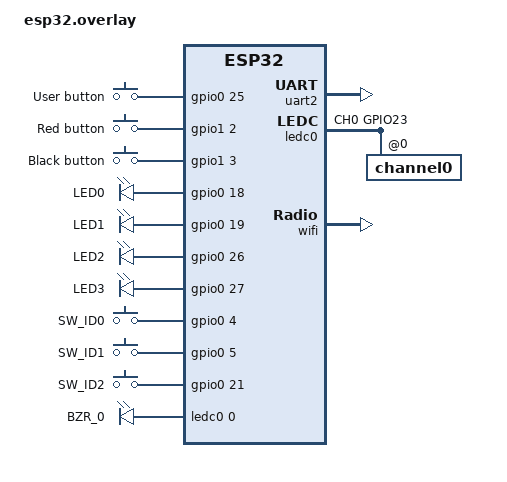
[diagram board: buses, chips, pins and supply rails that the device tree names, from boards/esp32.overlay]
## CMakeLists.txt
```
# Load zephyr build system and add extra modules if required
cmake_minimum_required(VERSION 3.13.1)
find_package(Zephyr REQUIRED HINTS $ENV{ZEPHYR_BASE})
project(owlcms_ref_btn)

# Add your source file to the "app" target.
target_sources(app PRIVATE 
                src/io.c 
                src/msys.c 
                src/main.c 
                src/io_mgr.c 
                src/settings_util.c
                src/comms_mgr.c
                src/wifi_conn.c
                src/mqtt_client.c
                # src/ble_config_mgr.c
                # src/config_gatt_service.c
                src/uart_config_mgr.c)
```

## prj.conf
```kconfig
# Logging
CONFIG_LOG=y
#CONFIG_LOG_MODE_IMMEDIATE=y
#CONFIG_LOG_PROCESS_THREAD=y
#CONFIG_LOG_MODE_DEFERRED=y
#CONFIG_LOG_BUFFER_SIZE=2048
CONFIG_NET_LOG=y
#CONFIG_MQTT_LOG_LEVEL_ERR=y
#CONFIG_NET_TCP_LOG_LEVEL_DBG=y
#CONFIG_NET_SOCKETS_LOG_LEVEL_DBG=y
#CONFIG_NET_CORE_LOG_LEVEL_DBG=y
#CONFIG_NVS_LOG_LEVEL_DBG=y
CONFIG_WIFI_LOG_LEVEL_DBG=y
#
# Flash, settings, NVS
CONFIG_FLASH=y
CONFIG_FLASH_MAP=y
CONFIG_NVS=y
CONFIG_MPU_ALLOW_FLASH_WRITE=y

#
# Networking
CONFIG_WIFI=y
CONFIG_WIFI_ESP32=y
CONFIG_NETWORKING=y
CONFIG_NET_L2_ETHERNET=y
CONFIG_NET_IPV6=n
CONFIG_NET_IPV4=y
CONFIG_NET_DHCPV4=y
CONFIG_NET_SOCKETS=y
CONFIG_NETWORKING=y
CONFIG_NET_TCP=y
CONFIG_NET_SOCKETS_POSIX_NAMES=y

CONFIG_NET_L2_WIFI_MGMT=y
CONFIG_NET_MGMT=y
CONFIG_NET_MGMT_EVENT=y
CONFIG_NET_MGMT_EVENT_INFO=y

CONFIG_ENTROPY_GENERATOR=y
CONFIG_TEST_RANDOM_GENERATOR=y

CONFIG_MBEDTLS=y
CONFIG_MBEDTLS_ENTROPY_ENABLED=y
CONFIG_MBEDTLS_KEY_EXCHANGE_ECDHE_ECDSA_ENABLED=y
CONFIG_MBEDTLS_ECP_ALL_ENABLED=y

#
# BLE and Bluetooth
# CONFIG_BT=y
# CONFIG_BT_DEBUG_LOG=y
# CONFIG_BT_PERIPHERAL=y
# CONFIG_BT_GATT_CLIENT=y
# CONFIG_BT_ESP32=y

CONFIG_SERIAL=y
CONFIG_UART_INTERRUPT_DRIVEN=y

#
# Misc options/libs
CONFIG_REBOOT=y
CONFIG_MQTT_LIB=y
# CONFIG_ESP_HEAP_MEM_POOL_REGION_1_SIZE=16000
CONFIG_PWM=y
CONFIG_PWM_LED_ESP32=y
#CONFIG_BOOTLOADER_MCUBOOT=y
#CONFIG_NET_TCP_WORKQ_STACK_SIZE=2096
#CONFIG_HEAP_MEM_POOL_SIZE=80000
#CONFIG_NET_TX_STACK_SIZE=2096
#CONFIG_NET_RX_STACK_SIZE=2096
#CONFIG_MAIN_STACK_SIZE=2096
```

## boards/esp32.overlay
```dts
#include <zephyr/dt-bindings/pwm/pwm.h>
#include <dt-bindings/pinctrl/esp32-pinctrl.h>

/ {
    aliases {
        led0 = &led0;
        led1 = &led1;
        led2 = &led2;
        led3 = &led3;
        btn-usr = &btn0;
        btn-red = &btn1;
        btn-blk = &btn2;
        sw-id-0 = &id0;
        sw-id-1 = &id1;
        sw-id-2 = &id2;
        pwm-0 = &ledc0;
        bzr0 = &bzr0;
        uart-config = &uart0; // main uart for dev board USB fw update + config
    };

    // Logging only used for dev/debug - keep uart0 for fw update and
    // config only.
    chosen {
        zephyr,console = &uart2;
        zephyr,shell-uart = &uart2;
    };

    buttons {
        compatible = "gpio-keys";
        btn0: btn_usr {
            gpios = <&gpio0 25 GPIO_ACTIVE_HIGH>; // GPIO25
            label = "User button";
        };

        btn1: btn_red {
            gpios = <&gpio1 2 GPIO_ACTIVE_HIGH>; // GPIO34
            label = "Red button";
        };

        btn2: btn_blk {
            gpios = <&gpio1 3 GPIO_ACTIVE_HIGH>; // GPIO35
            label = "Black button";
        };
    };

    leds {
        compatible = "gpio-leds";
        status = "okay";
        led0: led_0 {
            gpios = <&gpio0 18 GPIO_ACTIVE_HIGH>; // GPIO18
            label = "LED0";
            status = "okay";
        };

        led1: led_1 {
            gpios = <&gpio0 19 GPIO_ACTIVE_HIGH>; // GPIO19
            label = "LED1";
        };

        led2: led_2 {
            gpios = <&gpio0 26 GPIO_ACTIVE_HIGH>; // GPIO26
            label = "LED2";
        };

        led3: led_3 {
            gpios = <&gpio0 27 GPIO_ACTIVE_HIGH>; // GPIO27
            label = "LED3";
        };
    };

    id-sw {
        compatible = "gpio-keys";
        status = "okay";
        id0: sw_id_0 {
            gpios = <&gpio0 4 GPIO_ACTIVE_HIGH>;
            label = "SW_ID0";
        };

        id1: sw_id_1 {
            gpios = <&gpio0 5 GPIO_ACTIVE_HIGH>;
            label = "SW_ID1";
        };

        id2: sw_id_2 {
            gpios = <&gpio0 21 GPIO_ACTIVE_HIGH>;
            label = "SW_ID2";
        };
    };

    bzr-out {
        compatible = "pwm-leds";
        bzr0: pwm_led_gpio0_23 {
            pwms = <&ledc0 0 1000 PWM_POLARITY_NORMAL>;
            label = "BZR_0";
        };
    };
};

&uart2 {
    status = "okay";
};

&i2c0 {
    status = "disabled";
};

&spi3 {
    status = "disabled";
};

&pinctrl {
	ledc0_default: ledc0_default {
		group1 {
			// pinmux = <ESP32_PINMUX(23, ESP_NOSIG, ESP_LEDC_HS_SIG_OUT0)>;
            pinmux = <LEDC_CH0_GPIO23>;
			output-enable;
		};
	};
};

&ledc0 {
    pinctrl-0 = <&ledc0_default>;
    pinctrl-names = "default";
	status = "okay";
    #address-cells = <1>;
    #size-cells = <0>;
    channel0@0 {
        reg = <0x0>;
        timer = <0>;
    };
};

&wifi {
    status = "okay";
};
```

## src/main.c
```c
#include <zephyr/logging/log.h>

LOG_MODULE_REGISTER(main, LOG_LEVEL_DBG);

#include <zephyr/zephyr.h>
#include <zephyr/device.h>
#include <zephyr/drivers/gpio.h>
#include <zephyr/net/wifi_mgmt.h>
#include <zephyr/logging/log_ctrl.h>

#include "io.h"
#include "msys.h"
#include "comms_mgr.h"
#include "settings_util.h"

void main(void)
{
    log_init();
    LOG_INF("Starting OWLCMS Referee Controller...\n");

    // Short startup delay, don't think this is really necessary
    k_sleep(K_MSEC(100));

    int ret = 0;
    ret = io_init();
    if (ret != 0)
    {
        LOG_ERR("Failed to initialise IO module");
        return;
    }

    ret = settings_util_init();
    if (ret != 0)
    {
        LOG_ERR("Failed to initialise NVS and settings module");
        return;
    }

    ret = comms_mgr_init(io_get_dev_id());
    if (ret != 0)
    {
        LOG_ERR("Failed to initialise comms module");
        return;
    }

    ret = msys_init();
    if (ret != 0)
    {
        LOG_ERR("Failed to initialise main system module");
        return;
    }

    ret = msys_run();
    if (ret != 0)
    {
        LOG_ERR("Failed to start main system module");
        return;
    }

    while(1)
    {
        // Process buffered log messages and sleep;
        if (log_process() == false)
            k_sleep(K_MSEC(100));
    }
    // never going to get here...
    LOG_INF("main thread exiting");
}
```

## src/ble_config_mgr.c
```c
#include <zephyr/logging/log.h>

LOG_MODULE_REGISTER(ble_config_mgr, LOG_LEVEL_DBG);


#include <zephyr/zephyr.h>
#include <zephyr/bluetooth/bluetooth.h>
#include <zephyr/bluetooth/hci.h>
#include <zephyr/bluetooth/conn.h>
#include <zephyr/bluetooth/uuid.h>
#include <zephyr/bluetooth/gatt.h>
#include <zephyr/sys/reboot.h>

#include "ble_config_mgr.h"
#include "config_gatt_service.h"

#define BLE_CONFIG_MGR_THREAD_STACK_SIZE        4096

#define DEVICE_NAME             "BLE Config Device12"
#define DEVICE_NAME_LEN         20

struct bt_conn *conn;

static struct bt_data ad[] = {
    BT_DATA_BYTES(BT_DATA_FLAGS, (BT_LE_AD_GENERAL | BT_LE_AD_NO_BREDR)),
};

static const struct bt_data sd[] = {
    BT_DATA(BT_DATA_NAME_COMPLETE, DEVICE_NAME, DEVICE_NAME_LEN),
};

static void ble_host_connected(struct bt_conn *connected, uint8_t err);
static void ble_host_disconnected(struct bt_conn *connected, uint8_t reason);

struct config_settings settings_temp;

BT_CONN_CB_DEFINE(conn_callbacks) = {
    .connected = ble_host_connected,
    .disconnected = ble_host_disconnected,
};

int ble_config_mgr_init()
{
    int ret = 0;

    ret = bt_enable(NULL);
    if (ret != 0)
    {
        LOG_ERR("Bluetooth init failed: %d", ret);
        return ret;
    }


    //k_thread_start(ble_config_mgr_th);
    
    return ret;
}

int ble_config_mgr_deinit()
{
    int ret = 0;

    ret = bt_disable();
    if (ret != 0)
    {
        LOG_ERR("Bluetooth deinit failed: %d", ret);
        return ret;
    }
    return ret;
}

static void auth_cancel(struct bt_conn *conn)
{
	char addr[BT_ADDR_LE_STR_LEN];

	bt_addr_le_to_str(bt_conn_get_dst(conn), addr, sizeof(addr));

	LOG_INF("Pairing cancelled: %s\n", addr);
}

static struct bt_conn_auth_cb auth_cb_display = {
	.cancel = auth_cancel,
};

int ble_config_mgr_start(struct config_settings *settings)
{
    int ret = 0;
    ble_config_mgr_init();
    config_gatt_service_init(settings);

    ret = bt_le_adv_start(BT_LE_ADV_CONN, ad, ARRAY_SIZE(ad), sd, ARRAY_SIZE(sd));
    //bt_conn_auth_cb_register(&auth_cb_display);

    return ret;
}

int ble_config_mgr_stop()
{
    ble_config_mgr_deinit();
}

static void ble_host_connected(struct bt_conn *connected, uint8_t err)
{
    if (err != 0)
        LOG_INF("connection error: 0x%02x", err);
    else
    {
        LOG_INF("host connected");
        if (!conn)
        {
            conn = bt_conn_ref(connected);
        }
    }
}

static void ble_host_disconnected(struct bt_conn *connected, uint8_t reason)
{
    LOG_INF("disconnected, reason: 0x%02x", reason);
    if (conn)
    {
        bt_conn_unref(connected);
        conn = NULL;
    }
    sys_reboot(SYS_REBOOT_COLD);
}
```

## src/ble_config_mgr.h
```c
#ifndef BLE_CONFIG_MGR_H_
#define BLE_CONFIG_MGR_H_

#include "config_gatt_service.h"
// signal to the config mgr thread to enter config state
int ble_config_mgr_start(struct config_settings *settings);

// signal to the config mgr thread to leave config state
int ble_config_mgr_stop();

#endif
```

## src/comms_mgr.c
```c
#include <zephyr/logging/log.h>

LOG_MODULE_REGISTER(comms_mgr, LOG_LEVEL_DBG);

#include <zephyr/zephyr.h>
#include <zephyr/net/net_if.h>
#include <zephyr/net/net_core.h>
#include <zephyr/net/net_context.h>
#include <zephyr/net/wifi_mgmt.h>
#include <zephyr/net/net_mgmt.h>
#include <zephyr/net/ethernet_mgmt.h>
#include <zephyr/net/wifi.h>
#include <zephyr/net/net_event.h>
#include <zephyr/net/mqtt.h>

#include <esp_wifi.h>
#include <esp_event.h>
#include <esp_timer.h>

#include "device_config.h"
#include "comms_mgr.h"
#include "wifi_conn.h"
#include "mqtt_client.h"
#include "settings_util.h"
#include "msys.h"
#include "io_mgr.h"

#if (ENABLE_BLE_CONFIG == 1)
#include "ble_config_mgr.h"
#include "config_gatt_service.h"
#endif

#if (ENABLE_UART_CONFIG == 1)
#include "uart_config_mgr.h"
#endif

#define SIGNAL_CMD_MAX_RETRIES          10

#define MQTT_CLIENT_NAME_BASE           "owlcms_ref_"

#define DECISION_TOPIC_BASE             "owlcms/decision/"
#define DECISION_GOOD               0
#define DECISION_BAD                1

static const char *decision_msg[] = {"good", "bad"};

#define STARTUP_TOPIC_BASE              "owlcms/led/"
#define SUMMON_TOPIC_BASE               "owlcms/summon/"
#define DECISION_REQ_TOPIC_BASE         "owlcms/decisionRequest/"


typedef enum {
    CMD_NONE,
    CMD_RESET,
    CMD_CONNECT,
    CMD_DISCONNECT,
    CMD_MQTT_START,
    CMD_CONFIG_START,
    CMD_CONFIG_STOP
} comms_cmd_t;

static struct k_thread comms_mgr_th;
K_THREAD_STACK_DEFINE(comms_mgr_thread_stack, 4096);
static struct k_msgq  comms_cmd_queue;
char __aligned(1) cmd_msg_buf[10 * sizeof(uint8_t)];
static bool wifi_connected;
static bool net_connected;
static bool mqtt_connected;

struct wifi_config_settings wifi_config;
struct owlcms_config_settings owlcms_config;
struct mqtt_config_settings mqtt_config;
static uint8_t *decision_topic;
static uint8_t decision_topic_len;
static uint8_t ref_number;
static uint8_t *startup_topic;
static uint8_t *summon_topic;
static uint8_t *decision_req_topic;

static struct k_work_delayable wifi_connect_work;
static struct k_work_delayable wifi_disconnect_work;
static struct k_work_delayable wifi_reset_work;
static struct k_work_delayable wifi_setup_work;

void comms_mgr_thread();
static void process_comms_cmd(comms_cmd_t cmd);
void signal_net_state(uint8_t wifi_state, uint8_t net_state);
void signal_mqtt_state(uint8_t mqtt_state);
static int comms_mgr_signal_cmd(comms_cmd_t cmd);
static void setup_mqtt_topics();

static void handle_startup_msg(uint8_t *msg, uint8_t msg_len);
static void handle_summon_msg(uint8_t *msg, uint8_t msg_len);
static void handle_decision_req_msg(uint8_t *msg, uint8_t msg_len);

static void process_comms_cmd(comms_cmd_t cmd)
{
    if (cmd == CMD_RESET)
    {
        LOG_INF("proc cmd RESET");
        wifi_conn_disconnect();
        wifi_conn_reset();
        // k_work_reschedule(&wifi_disconnect_work, K_NO_WAIT);
        // k_work_reschedule(&wifi_reset_work, K_NO_WAIT);
    }
    else if (cmd == CMD_CONNECT)
    {
        LOG_INF("proc cmd CONNECT");
        
        if (wifi_connected && net_connected)
        {
            LOG_DBG("wifi already conn, starting mqtt");
            comms_mgr_signal_cmd(CMD_MQTT_START);
        }
        else 
        {
            LOG_DBG("starting wifi");
            //wifi_conn_reset();
            wifi_conn_setup(&wifi_config);
            wifi_conn_connect();
        }
        // k_work_reschedule(&wifi_reset_work, K_NO_WAIT);
        // k_work_reschedule(&wifi_setup_work, K_NO_WAIT);
        // k_work_reschedule(&wifi_connect_work, K_NO_WAIT);
    }
    else if (cmd == CMD_DISCONNECT)
    {
        LOG_INF("proc cmd DISCONNECT");
        wifi_conn_disconnect();
        // k_work_reschedule(&wifi_disconnect_work, K_NO_WAIT);
    }
    // else if (cmd == CMD_CONFIG)
    // {
    //     // TODO: implement configuration mode via BLE
    // }
    else if (cmd == CMD_MQTT_START)
    {
        mqtt_client_setup(&mqtt_config);
        mqtt_client_start();
        //msys_signal_evt(SYS_EVT_CONN_SUCCESS);
    }
    else if (cmd == CMD_CONFIG_START)
    {
        LOG_INF("starting ble config mode");
        mqtt_client_teardown();
        wifi_conn_disconnect();
#if (ENABLE_BLE_CONFIG == 1)
        struct config_settings settings;
        settings.wifi = &wifi_config;
        settings.mqtt = &mqtt_config;
        settings.owlcms = &owlcms_config;

        ble_config_mgr_start(&settings);
#endif
    }
    else if (cmd == CMD_CONFIG_STOP)
    {
#if (ENABLE_BLE_CONFIG == 1)
        ble_config_mgr_stop();
#endif
    }
}

void comms_mgr_thread()
{
    int ret = 0;
    comms_cmd_t cmd = 0;

    while (1)
    {
        ret = k_msgq_get(&comms_cmd_queue, &cmd, K_NO_WAIT);
        if (ret == 0)
        {
            LOG_DBG("comms_mgr evt %d", cmd);
            process_comms_cmd(cmd);
        }
        k_yield();
        //k_msleep(5);
    }
}

int comms_mgr_init(uint8_t device_id)
{
    k_msgq_init(&comms_cmd_queue, cmd_msg_buf, sizeof(uint8_t), 10);
    wifi_connected = false;
    net_connected = false;
    mqtt_connected = false;

    wifi_conn_init();
    mqtt_client_mod_init();
#if (ENABLE_UART_CONFIG == 1)
    uart_config_mgr_init();
#endif

    ref_number = device_id;
    settings_util_load_owlcms_config(&owlcms_config);
    settings_util_load_mqtt_config(&mqtt_config);
    
    uint8_t mqtt_client_name_len = strlen(MQTT_CLIENT_NAME_BASE) + owlcms_config.platform_len + 4;
    snprintk(mqtt_config.client_name, mqtt_client_name_len, "%s%s_%d", MQTT_CLIENT_NAME_BASE,
                                                                        owlcms_config.platform,
                                                                        ref_number);
    mqtt_config.client_name_len = mqtt_client_name_len;


    decision_topic_len = strlen(DECISION_TOPIC_BASE) + owlcms_config.platform_len + 1;
    decision_topic = k_malloc(sizeof(uint8_t) * decision_topic_len);
    snprintk(decision_topic, decision_topic_len, "%s%s", DECISION_TOPIC_BASE, owlcms_config.platform);
    
    settings_util_load_wifi_config(&wifi_config);

    wifi_conn_set_net_state_cb(&signal_net_state);
    mqtt_client_set_state_cb(&signal_mqtt_state);

    k_work_init_delayable(&wifi_connect_work, wifi_conn_connect);
    k_work_init_delayable(&wifi_disconnect_work, wifi_conn_disconnect);
    k_work_init_delayable(&wifi_reset_work, wifi_conn_reset);
    //k_work_init_delayable(&wifi_configure_work, wifi_configure);
    k_thread_create(&comms_mgr_th,
                    comms_mgr_thread_stack,
                    K_THREAD_STACK_SIZEOF(comms_mgr_thread_stack),
                    comms_mgr_thread,
                    NULL, NULL, NULL, 
                    6, 0, K_NO_WAIT);

    return 0;
}

int comms_mgr_signal_cmd(comms_cmd_t cmd)
{
    comms_cmd_t c = cmd;
    uint8_t count = 0;
    //LOG_DBG("comms_mgr evt %d", cmd);
    while (k_msgq_put(&comms_cmd_queue, &c, K_NO_WAIT) != 0)
    {
        if (count >= SIGNAL_CMD_MAX_RETRIES)
        {
            LOG_DBG("Failed to put cmd on msgq");
            return -ETIMEDOUT;
        }
        count++;
    }
    return 0;
}

int comms_mgr_connect()
{
    return comms_mgr_signal_cmd(CMD_CONNECT);
}

int comms_mgr_disconnect()
{
    return comms_mgr_signal_cmd(CMD_DISCONNECT);
}

int comms_mgr_notify_decision(uint8_t decision)
{
    uint8_t ret = 0;
    uint8_t *msg;
    
    
    uint8_t msg_len = strlen(decision_msg[decision]) + 3; // plus 3 for space, ID nummber, \0
    msg = k_malloc(sizeof(uint8_t) * msg_len);
    snprintk(msg, msg_len, "%d %s", ref_number, decision_msg[decision]);
    LOG_DBG("notify decision rx, topic: %s %d, msg: %s %d", decision_topic, decision_topic_len, msg, msg_len);
    ret = mqtt_client_publish(MQTT_QOS_0_AT_MOST_ONCE, decision_topic, decision_topic_len-1, msg, msg_len-1);

    if (ret == 0)
        msys_signal_evt(SYS_EVT_DECISION_HANDLED);

    return ret;
}

int comms_mgr_start_config()
{
    comms_mgr_signal_cmd(CMD_CONFIG_START);
}

int comms_mgr_end_config()
{
    comms_mgr_signal_cmd(CMD_CONFIG_STOP);
}

void signal_net_state(uint8_t wifi_state, uint8_t net_state)
{
    if (wifi_state == WIFI_CONN_STATE_UP)
    {
        wifi_connected = true;
    }
    else if (net_state == WIFI_CONN_STATE_UP)
    {
        net_connected = true;
        comms_mgr_signal_cmd(CMD_MQTT_START);
    }
    else if (wifi_state == WIFI_CONN_STATE_DOWN && net_state == WIFI_CONN_STATE_DOWN)
    {
        wifi_connected = false;
        net_connected = false;
        mqtt_client_teardown();
        msys_signal_evt(SYS_EVT_CONN_LOST);
    }
}

void signal_mqtt_state(uint8_t mqtt_state)
{
    if (mqtt_state == MQTT_STATE_NO_CHANGE)
    {

    }
    else if (mqtt_state == MQTT_STATE_CONNECTED)
    {
        setup_mqtt_topics();
        msys_signal_evt(SYS_EVT_CONN_SUCCESS);
    }
    else if (mqtt_state == MQTT_STATE_DISCONNECTED)
    {
        LOG_INF("MQTT disconnected, trying again");
        msys_signal_evt(SYS_EVT_CONN_LOST);
    }
}

static void setup_mqtt_topics()
{
    uint8_t startup_topic_len = strlen(STARTUP_TOPIC_BASE) + owlcms_config.platform_len + 2;
    uint8_t summon_topic_len = strlen(SUMMON_TOPIC_BASE) + owlcms_config.platform_len + 4;
    uint8_t decision_req_topic_len = strlen(DECISION_REQ_TOPIC_BASE) + owlcms_config.platform_len + 4;

    startup_topic = k_malloc(sizeof(char) * startup_topic_len);
    summon_topic = k_malloc(sizeof(char) * summon_topic_len);
    decision_req_topic = k_malloc(sizeof(char) * decision_req_topic_len);

    snprintk(startup_topic, startup_topic_len, "%s%s", STARTUP_TOPIC_BASE, owlcms_config.platform);
    snprintk(summon_topic, summon_topic_len, "%s%s/%d", SUMMON_TOPIC_BASE, owlcms_config.platform, ref_number);
    snprintk(decision_req_topic, decision_req_topic_len, "%s%s/%d", DECISION_REQ_TOPIC_BASE, owlcms_config.platform, ref_number);
    LOG_INF("%s %d", startup_topic, startup_topic_len);
    mqtt_client_subscribe(startup_topic, handle_startup_msg);
    mqtt_client_subscribe(summon_topic, handle_summon_msg);
    mqtt_client_subscribe(decision_req_topic, handle_decision_req_msg);
}

static void handle_startup_msg(uint8_t *msg, uint8_t msg_len)
{
    if (strncmp(msg, "on", msg_len) == 0 && msg_len > 0)
    {
        LOG_INF("device received startup msg, %s, len: %d", msg, msg_len);
        io_mgr_buzzer_trig();
    }
}

static void handle_summon_msg(uint8_t *msg, uint8_t msg_len)
{
    if (strncmp(msg, "on", msg_len) == 0 && msg_len > 0)
    {
        LOG_INF("device received summon msg, %s, len: %d", msg, msg_len);
        io_mgr_buzzer_trig();
    }
}

static void handle_decision_req_msg(uint8_t *msg, uint8_t msg_len)
{
    if (strncmp(msg, "on", msg_len) == 0 && msg_len > 0)
    {
        LOG_INF("device received decision req msg, %s, len: %d", msg, msg_len);
        io_mgr_buzzer_trig();
    }
}
```

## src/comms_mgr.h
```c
#ifndef COMMS_MGR_H_
#define COMMS_MGR_H_

#define COMMS_MGR_DEC_BLK       0
#define COMMS_MGR_DEC_RED       1

int comms_mgr_init(uint8_t device_id);

int comms_mgr_is_connected();
int comms_mgr_connect();
int comms_mgr_disconnect();

int comms_mgr_start_config();
int comms_mgr_end_config();

int comms_mgr_notify_decision(uint8_t decision);

#endif
```

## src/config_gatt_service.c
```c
#include <zephyr/logging/log.h>

LOG_MODULE_REGISTER(config_gatt_service, LOG_LEVEL_DBG);

#include <zephyr/zephyr.h>  
#include <zephyr/bluetooth/gatt.h>
#include <zephyr/settings/settings.h>

#include "config_gatt_service.h"
#include "settings_util.h"

#define READ_VAL_CB_ARGS         struct bt_conn *conn, const struct bt_gatt_attr *attr, void *buf, uint16_t len, uint16_t offset
#define WRITE_VAL_CB_ARGS       struct bt_conn *conn, \
			      const struct bt_gatt_attr *attr, const void *buf,\
			      uint16_t len, uint16_t offset, uint8_t flags


static struct bt_uuid_128 config_service_uuid = BT_UUID_INIT_128(
	BT_UUID_128_ENCODE(0x0000fe40, 0xcc7a, 0x482a, 0x984a, 0x7f2ed5b3e58f));

static struct bt_uuid_128 wifi_ssid_uuid = BT_UUID_INIT_128(
	BT_UUID_128_ENCODE(0x0000fe41, 0x8e22, 0x4541, 0x9d4c, 0x21edae82ed19));


static struct bt_uuid_128 wifi_psk_uuid = BT_UUID_INIT_128(
	BT_UUID_128_ENCODE(0x0000fe42, 0x8e22, 0x4541, 0x9d4c, 0x21edae82ed19));

static struct bt_uuid_128 mqtt_srv_uuid = BT_UUID_INIT_128(
	BT_UUID_128_ENCODE(0x0000fe43, 0x8e22, 0x4541, 0x9d4c, 0x21edae82ed19));

static struct bt_uuid_128 mqtt_port_uuid = BT_UUID_INIT_128(
	BT_UUID_128_ENCODE(0x0000fe44, 0x8e22, 0x4541, 0x9d4c, 0x21edae82ed19));

static struct bt_uuid_128 mqtt_client_name_uuid = BT_UUID_INIT_128(
	BT_UUID_128_ENCODE(0x0000fe45, 0x8e22, 0x4541, 0x9d4c, 0x21edae82ed19));

static struct bt_uuid_128 owlcms_platform_name_uuid = BT_UUID_INIT_128(
	BT_UUID_128_ENCODE(0x0000fe46, 0x8e22, 0x4541, 0x9d4c, 0x21edae82ed19));

static struct bt_uuid_128 config_write_uuid = BT_UUID_INIT_128(
	BT_UUID_128_ENCODE(0x0000fe47, 0x8e22, 0x4541, 0x9d4c, 0x21edae82ed19));

static struct config_settings config;

static uint8_t wifi_ssid[32] = {};
static uint8_t wifi_psk[32] = {};
static uint8_t mqtt_srv[32] = {};
static uint16_t mqtt_port = 0;
static uint8_t mqtt_client_name[32] = {};
static uint8_t owlcms_platform_name[32] = {};

static ssize_t write_uint16(struct bt_conn *conn, const struct bt_gatt_attr *attr,
            const void *buf, uint16_t len, uint16_t offset, uint8_t flags)
{
    uint8_t *value = attr->user_data;

    if (offset >= sizeof(uint16_t))
        return BT_GATT_ERR(BT_ATT_ERR_INVALID_OFFSET);
    if (offset + len > sizeof(uint16_t))
        return BT_GATT_ERR(BT_ATT_ERR_INVALID_ATTRIBUTE_LEN);
        
    memcpy(value + offset, buf, len);

    return len;
}

static ssize_t read_uint16(struct bt_conn *conn, const struct bt_gatt_attr *attr,
            void *buf, uint16_t len, uint16_t offset)
{
    const uint8_t *value = attr->user_data;

    return bt_gatt_attr_read(conn, attr, buf, len, offset, value, sizeof(uint16_t));
}

static ssize_t read_value_wifi_ssid(struct bt_conn *conn, const struct bt_gatt_attr *attr,
			void *buf, uint16_t len, uint16_t offset)
{
    //LOG_INF("read wifi ssid");
    const char *value = attr->user_data;
    //LOG_INF("%d, %d, %d", conn, attr, buff)
    //LOG_INF("val %s", value);
    return bt_gatt_attr_read(conn, attr, buf, len, offset, value,
				 strlen(value));
}

static ssize_t write_value_wifi_ssid(struct bt_conn *conn, const struct bt_gatt_attr *attr,
			 const void *buf, uint16_t len, uint16_t offset,
			 uint8_t flags)
{
    if (flags & BT_GATT_WRITE_FLAG_PREPARE) {
		return 0;
	}

	if (offset + len > 32) {
		return BT_GATT_ERR(BT_ATT_ERR_INVALID_OFFSET);
	}
    //LOG_INF("write wifi ssid");
    uint8_t *value = attr->user_data;
    memcpy(value + offset, buf, len);
    value[offset + len] = 0;
    return len;
}

static ssize_t read_value_wifi_psk(struct bt_conn *conn, const struct bt_gatt_attr *attr,
			void *buf, uint16_t len, uint16_t offset)
{
    //LOG_INF("read wifi psk");
    const char *value = attr->user_data;

    return bt_gatt_attr_read(conn, attr, buf, len, offset, value,
				 strlen(value));
}

static ssize_t write_value_wifi_psk(struct bt_conn *conn, const struct bt_gatt_attr *attr,
			 const void *buf, uint16_t len, uint16_t offset,
			 uint8_t flags)
{
    if (flags & BT_GATT_WRITE_FLAG_PREPARE) {
		return 0;
	}

	if (offset + len > 32) {
		return BT_GATT_ERR(BT_ATT_ERR_INVALID_OFFSET);
	}
    //LOG_INF("write wifi psk");
    uint8_t *value = attr->user_data;
    memcpy(value + offset, buf, len);
    value[offset + len] = 0;
    return len;
}

static ssize_t config_write(struct bt_conn *conn, const struct bt_gatt_attr *attr,
			 const void *buf, uint16_t len, uint16_t offset,
			 uint8_t flags)
{
    settings_util_set_wifi_ssid(wifi_ssid, strlen(wifi_ssid));
    settings_util_set_wifi_psk(wifi_psk, strlen(wifi_psk));

    struct mqtt_config_settings mqtt_config;
    strcpy(mqtt_config.broker_addr, mqtt_srv);
    mqtt_config.port = mqtt_port;
    strcpy(mqtt_config.client_name, mqtt_client_name);
    settings_util_set_mqtt_config(&mqtt_config);

    struct owlcms_config_settings owlcms_config;
    strcpy(owlcms_config.platform, owlcms_platform_name);
    settings_util_set_owlcms_config(&owlcms_config);

    return len;
}

// struct bt_gatt_attr config_service_attrs[] = {
//     BT_GATT_PRIMARY_SERVICE(&config_service_uuid),
//     BT_GATT_CHARACTERISTIC(&wifi_ssid_uuid.uuid,
//         BT_GATT_CHRC_READ | BT_GATT_CHRC_WRITE,
//         BT_GATT_PERM_READ | BT_GATT_PERM_WRITE,
//         read_value_wifi_ssid, write_value_wifi_ssid, &config.wifi_ssid),
//     BT_GATT_CHARACTERISTIC(&wifi_psk_uuid.uuid,
//         BT_GATT_CHRC_READ | BT_GATT_CHRC_WRITE,
//         BT_GATT_PERM_READ | BT_GATT_PERM_WRITE,
//         read_value_wifi_psk, write_value_wifi_psk, &config.wifi_psk)
// };

BT_GATT_SERVICE_DEFINE(config_service,
    BT_GATT_PRIMARY_SERVICE(&config_service_uuid),
        BT_GATT_CHARACTERISTIC(&wifi_ssid_uuid.uuid,
            BT_GATT_CHRC_READ | BT_GATT_CHRC_WRITE,
            BT_GATT_PERM_READ | BT_GATT_PERM_WRITE,
            read_value_wifi_ssid, write_value_wifi_ssid, &wifi_ssid),
        BT_GATT_CHARACTERISTIC(&wifi_psk_uuid.uuid,
            BT_GATT_CHRC_READ | BT_GATT_CHRC_WRITE,
            BT_GATT_PERM_READ | BT_GATT_PERM_WRITE,
            read_value_wifi_psk, write_value_wifi_psk, &wifi_psk),
        BT_GATT_CHARACTERISTIC(&mqtt_srv_uuid.uuid,
            BT_GATT_CHRC_READ | BT_GATT_CHRC_WRITE,
            BT_GATT_PERM_READ | BT_GATT_PERM_WRITE,
            read_value_wifi_psk, write_value_wifi_psk, &mqtt_srv),
        BT_GATT_CHARACTERISTIC(&mqtt_port_uuid.uuid,
            BT_GATT_CHRC_READ | BT_GATT_CHRC_WRITE,
            BT_GATT_PERM_READ | BT_GATT_PERM_WRITE,
            read_uint16, write_uint16, &mqtt_port),
        BT_GATT_CHARACTERISTIC(&mqtt_client_name_uuid.uuid,
            BT_GATT_CHRC_READ | BT_GATT_CHRC_WRITE,
            BT_GATT_PERM_READ | BT_GATT_PERM_WRITE,
            read_value_wifi_psk, write_value_wifi_psk, &mqtt_client_name),
        BT_GATT_CHARACTERISTIC(&owlcms_platform_name_uuid.uuid,
            BT_GATT_CHRC_READ | BT_GATT_CHRC_WRITE,
            BT_GATT_PERM_READ | BT_GATT_PERM_WRITE,
            read_value_wifi_psk, write_value_wifi_psk, &owlcms_platform_name),
        BT_GATT_CHARACTERISTIC(&config_write_uuid.uuid,
            BT_GATT_CHRC_WRITE_WITHOUT_RESP,
            BT_GATT_PERM_WRITE,
            NULL, config_write, (void *)1)
);

//static struct bt_gatt_service config_service = BT_GATT_SERVICE(config_service_attrs);

//static void (* service_write_cb)(struct config_settings);

void config_gatt_service_init(struct config_settings *settings)
{
    int ret = 0;
    strcpy(wifi_ssid,   settings->wifi->ssid);
    strcpy(wifi_psk, settings->wifi->psk);
    strcpy(mqtt_srv, settings->mqtt->broker_addr);
    mqtt_port = settings->mqtt->port;
    strcpy(mqtt_client_name, "Empty");
    strcpy(owlcms_platform_name, settings->owlcms->platform);
    //snprintk(config.wifi_ssid, 10, "this is a");
    //memcpy(config.wifi_ssid, "test str  ", 10);

    // ret = bt_gatt_service_register(&config_service);
    // if (ret == 0)
    // {
    //     LOG_INF("registered service");
    // }
    // else {
    //     LOG_ERR("failed to register service %d", ret);
    // }

}

void config_gatt_service_remove()
{
    //bt_gatt_service_unregister(&config_service);
}

void config_gatt_service_set_write_cb(void (*cb)(struct config_settings))
{
    //service_write_cb = cb;
}
```

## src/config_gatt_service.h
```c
#ifndef CONFIG_GATT_SERVICE_H_
#define CONFIG_GATT_SERVICE_H_

#include <stdint.h>
#include "settings_util.h"

#define SERVICE_UUID_CONFIG                 BT_UUID_DECLARE_16(0xa0001)

#define CHAR_UUID_VAL_WIFI_SSID             BT_UUID_DECLARE_16(0xb0001)
#define CHAR_UUID_VAL_WIFI_PSK              BT_UUID_DECLARE_16(0xb0002)


void config_gatt_service_init(struct config_settings *config);
void config_gatt_service_remove();

void config_gatt_service_set_write_cb(void (*cb)(struct config_settings));

#endif
```

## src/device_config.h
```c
#ifndef DEVICE_CONFIG_H_
#define DEVICE_CONFIG_H_

#define ENABLE_BLE_CONFIG       0
#define ENABLE_UART_CONFIG      1

#define UART_CONFIG_DEV_NAME_DT DT_ALIAS(uart_config)

#endif
```

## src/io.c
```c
#include <zephyr/logging/log.h>

LOG_MODULE_REGISTER(io_mod, LOG_LEVEL_DBG);

#include <zephyr/kernel.h>
#include <zephyr/device.h>
#include <zephyr/drivers/gpio.h>
#include <zephyr/drivers/pwm.h>
#include "io.h"



#define LED0        DT_ALIAS(led0)
#define LED1        DT_ALIAS(led1)
#define LED2        DT_ALIAS(led2)
#define LED3        DT_ALIAS(led3)
// #define LED0_PIN    DT_GPIO_PIN(DT_ALIAS(led0), gpios)
// #define LED1_PIN    DT_GPIO_PIN(DT_ALIAS(led1), gpios)
// #define LED2_PIN    DT_GPIO_PIN(DT_ALIAS(led2), gpios)
// #define LED3_PIN    DT_GPIO_PIN(DT_ALIAS(led3), gpios)
#define NUM_LEDS    4

#define BTN_USR     DT_ALIAS(btn_usr)
#define BTN_RED     DT_ALIAS(btn_red)
#define BTN_BLK     DT_ALIAS(btn_blk)

#define NUM_BTNS    3

#define SW_ID0      DT_ALIAS(sw_id_0)
#define SW_ID1      DT_ALIAS(sw_id_1)
#define SW_ID2      DT_ALIAS(sw_id_2)

#define NUM_SW_ID   3

#define BZR_0       DT_ALIAS(bzr0)

static const struct gpio_dt_spec led0 = GPIO_DT_SPEC_GET(LED0, gpios);
static const struct gpio_dt_spec led1 = GPIO_DT_SPEC_GET(LED1, gpios);
static const struct gpio_dt_spec led2 = GPIO_DT_SPEC_GET(LED2, gpios);
static const struct gpio_dt_spec led3 = GPIO_DT_SPEC_GET(LED3, gpios);

static const struct gpio_dt_spec *leds[] = { 
                                        &led0, 
                                        &led1,
                                        &led2,
                                        &led3};

static const struct gpio_dt_spec btns[] = { GPIO_DT_SPEC_GET(BTN_RED, gpios),
                                            GPIO_DT_SPEC_GET(BTN_USR, gpios),
                                            GPIO_DT_SPEC_GET(BTN_BLK, gpios)};


static const struct gpio_dt_spec sw_id[] = {  GPIO_DT_SPEC_GET(SW_ID0, gpios),
                                            GPIO_DT_SPEC_GET(SW_ID1, gpios),
                                            GPIO_DT_SPEC_GET(SW_ID2, gpios)};

static const struct pwm_dt_spec buzzer = PWM_DT_SPEC_GET(BZR_0);


#define BTN_USR_ID              0
#define BTN_RED_ID              1
#define BTN_BLK_ID              2

#define BTN_STATE_NULL          0
#define BTN_STATE_DOWN          1
#define BTN_STATE_UP            2
#define BTN_STATE_HOLD          3

#define BTN_DEBOUNCE_NONE       0
#define BTN_DEBOUNCE_PRESS      1
#define BTN_DEBOUNCE_RELEASE    2


#define BTN_DEBOUNCE_TIME_MS    10
#define BTN_EVT_TICK_PERIOD_MS  5

#define BZR_PERIOD_NS           1000000U // 1kHz
#define BZR_PULSE_WIDTH_NS      BZR_PERIOD_NS / 2U

struct gpio_callback btn_cb_data[NUM_BTNS];

typedef struct btn_data_state {
    uint8_t btn_id;
    uint8_t debounce_evt; 
    uint64_t evt_start;
    uint8_t debounced_state;
    const struct device *port;
    uint32_t pin_mask;
} btn_state_t;

static btn_state_t btn_state_data[NUM_BTNS];
void (*btn_evt_handlers[NUM_BTNS])(uint8_t);
void (*btn_blk_cb)(uint8_t evt_type);
struct k_thread btn_evt_th;
K_THREAD_STACK_DEFINE(btn_evt_thread_stack, 1024);
static struct k_mutex btn_state_data_mutex;
void (*btn_evt_cb)(uint8_t btn_id, uint8_t btn_evt);

struct k_thread led_mgmt_th;
K_THREAD_STACK_DEFINE(led_mgmt_thread_stack, 1024);

//static struct k_mutex leds_cfg_lock;
//static struct k_mutex buzzer_cfg_lock;
static struct k_msgq leds_cfg_queue;
static char __aligned(2) leds_cfg_msg_buf[5 * sizeof(leds_cfg_t)];

int io_led_bits_set(uint8_t led_bits);
int io_led_bits_toggle(uint8_t led_bits);
int io_led_bits_toggle_all();

void iterate_led_cfg(leds_cfg_t cfg);

void led_mgmt_thread();

int init_btns();
int init_leds();
int init_dev_id_sw();

void btn_evt_thread(void *unused, void *unused1, void *unused2)
{
    uint64_t curr_time_ticks = 0;
    LOG_INF("entering btn evt thread");
    while (1)
    {
        if (k_mutex_lock(&btn_state_data_mutex, K_MSEC(100)) == 0)
        {
            curr_time_ticks = k_uptime_get();
            for (uint8_t i = 0; i < NUM_BTNS; i++)
            {
                if (btn_state_data[i].debounce_evt != BTN_DEBOUNCE_NONE)
                {
                    if ((curr_time_ticks - btn_state_data[i].evt_start) 
                                > BTN_DEBOUNCE_TIME_MS)
                    {
                        if ((gpio_pin_get_dt(&btns[i]) == 1)
                            && (btn_state_data[i].debounce_evt == BTN_DEBOUNCE_PRESS))
                        {
                            btn_state_data[i].debounce_evt = BTN_DEBOUNCE_NONE;
                            btn_state_data[i].debounced_state = BTN_STATE_DOWN;
                            btn_state_data[i].evt_start = curr_time_ticks;
                            btn_evt_cb(btn_state_data[i].btn_id, BTN_EVT_PRESSED);
                        }
                        else if ((gpio_pin_get_dt(&btns[i]) == 0)
                                && (btn_state_data[i].debounce_evt == BTN_DEBOUNCE_RELEASE))
                        {
                            btn_state_data[i].debounce_evt = BTN_DEBOUNCE_NONE;
                            btn_state_data[i].debounced_state = BTN_STATE_UP;
                            btn_state_data[i].evt_start = curr_time_ticks;
                            btn_evt_cb(btn_state_data[i].btn_id, BTN_EVT_RELEASED);
                        }
                    }
                }
                else {
                    if (btn_state_data[i].debounced_state == BTN_STATE_DOWN)
                    {
                        if ((curr_time_ticks - btn_state_data[i].evt_start) 
                                >= 2000)
                        {
                            btn_state_data[i].debounce_evt = BTN_DEBOUNCE_NONE;
                            btn_state_data[i].debounced_state = BTN_STATE_HOLD;
                            btn_evt_cb(btn_state_data[i].btn_id, BTN_EVT_HOLD_2s);
                        }
                    }
                }
            }
            k_mutex_unlock(&btn_state_data_mutex);
        }
        //LOG_INF("tick");
        //k_yield();
        //k_sleep(K_MSEC(BTN_EVT_TICK_PERIOD_MS));
        k_msleep(BTN_EVT_TICK_PERIOD_MS);
    }
}

void iterate_led_cfg(leds_cfg_t cfg)
{
    if (cfg.cfg_type == LED_CFG_TYPE_ON_OFF)
    {
        io_led_bits_set(cfg.pattern);
    }
    else if (cfg.cfg_type == LED_CFG_TYPE_BLINK_STATIC)
    {
        io_led_bits_toggle(cfg.pattern);
    }
    else if (cfg.cfg_type == LED_CFG_TYPE_BLINK_ALT)
    {
        io_led_bits_toggle_all(0x0F);
    }
    else
    {
        // LEDs disabled (off), do nothing 
    }
}

void led_mgmt_thread()
{
    int ret = 0;
    leds_cfg_t leds_cfg;
    static uint8_t leds_curr_state = 0;

    LOG_DBG("Entering LED mgmt thread");

    while(1)
    {
        ret = k_msgq_get(&leds_cfg_queue, &leds_cfg, K_NO_WAIT);
        if (ret == 0)
        {
            // clear all LEDs so they're off
            io_led_bits_set(leds_cfg.pattern);
            leds_curr_state = leds_cfg.pattern;
        }
        else 
        {
            // if we haven't changed the LEDs config, keep doing the same thing
            iterate_led_cfg(leds_cfg);
            
            
            
        }
        //LOG_DBG("tick");
        k_msleep(500);
    }
}

void io_btn_cb(uint8_t btn_id, uint8_t evt_type)
{
    LOG_DBG("btn: %d, evt: %d", btn_id, evt_type);
     
    if (btn_evt_handlers[btn_id] != NULL)
    {
        btn_evt_handlers[btn_id](evt_type); 
    }
}


void io_btn_handler(const struct device *dev, struct gpio_callback *cb, 
            uint32_t pins)
{
    //LOG_INF("btn press: %d\n", pins);
    k_mutex_lock(&btn_state_data_mutex, K_FOREVER);
    for (uint8_t i = 0; i < NUM_BTNS; i++)
    {
        if ((btn_state_data[i].pin_mask == pins) && 
                (btn_state_data[i].port == dev))
        {
            if (gpio_pin_get_dt(&btns[i]))
            {
                if (btn_state_data[i].debounce_evt == BTN_DEBOUNCE_NONE)
                {
                    btn_state_data[i].debounce_evt = BTN_DEBOUNCE_PRESS;
                    btn_state_data[i].evt_start = k_uptime_get();
                }
            }
            else {
                if (btn_state_data[i].debounce_evt == BTN_DEBOUNCE_NONE)
                {
                    btn_state_data[i].debounce_evt = BTN_DEBOUNCE_RELEASE;
                    btn_state_data[i].evt_start = k_uptime_get();
                }
            }
        }
    }
    k_mutex_unlock(&btn_state_data_mutex);
}

int init_btns()
{
    int ret = 0;
    btn_evt_cb = io_btn_cb;
    
    for (uint8_t i = 0; i < NUM_BTNS; i++)
    {
        if (btns[i].port == NULL)
        {
            LOG_ERR("Failed to initialise GPIO device for button %d", i);
            ret = EIO;
        }

        ret = gpio_pin_configure_dt(&btns[i], GPIO_INPUT);
        if (ret != 0)
        {
            LOG_ERR("Failed to configure IO pin for button %d, ret %d", i, ret);
            ret = EIO;
        }

        ret = gpio_pin_interrupt_configure_dt(&btns[i], GPIO_INT_EDGE_BOTH);
        if (ret != 0)
        {
            LOG_ERR("Failed to configure interrupt for button %d", i);
            ret = EIO;
        }

        gpio_init_callback(&(btn_cb_data[i]), io_btn_handler, BIT(btns[i].pin));
        gpio_add_callback(btns[i].port, &(btn_cb_data[i]));

        btn_state_data[i].btn_id = i;
        btn_state_data[i].port = btns[i].port;
        btn_state_data[i].pin_mask = BIT(btns[i].pin);
        btn_state_data[i].debounce_evt = 0;
        btn_state_data[i].evt_start = 0;
        btn_state_data[i].debounced_state = gpio_pin_get_dt(&btns[i]);

        k_mutex_init(&btn_state_data_mutex);

        k_thread_create(&btn_evt_th, btn_evt_thread_stack,
                        K_THREAD_STACK_SIZEOF(btn_evt_thread_stack),
                        btn_evt_thread,
                        NULL, NULL, NULL,
                        6, 0, K_NO_WAIT);
    }

    return ret;
}

int init_leds()
{
    int ret = 0;
    for (uint8_t i = 0; i < NUM_LEDS; i++)
    {
        //LOG_INF("init led %d\n", i);
        //k_sleep(K_MSEC(1000));
        if (leds[i]->port == NULL)
        {
            LOG_ERR("Failed to initialise GPIO device for LED %d", i);
            ret = EIO;
        }

        //LOG_INF("init led %d\n", i);
        //k_sleep(K_MSEC(1000));
        ret = gpio_pin_configure_dt(&(*leds[i]), GPIO_OUTPUT);
        if (ret != 0)
        {
            LOG_ERR("Failed to configure IO pin for LED %d", i);
            ret = EIO;
        }
        //LOG_INF("ret %d\n", i);

        ret = gpio_pin_set_dt(&(*leds[i]), 0);
        //LOG_INF("ret %d\n", i);
    }

    k_msgq_init(&leds_cfg_queue, leds_cfg_msg_buf,
                        sizeof(leds_cfg_t), 5);

    k_thread_create(&led_mgmt_th, led_mgmt_thread_stack,
                        K_THREAD_STACK_SIZEOF(led_mgmt_thread_stack),
                        led_mgmt_thread,
                        NULL, NULL, NULL,
                        6, 0, K_NO_WAIT);
    return ret;
}

int init_dev_id_sw()
{
    int ret = 0;
    for (uint8_t i = 0; i < NUM_SW_ID; i++)
    {
        if (sw_id[i].port == NULL)
        {
            LOG_ERR("Failed to initialise GPIO device for id switch %d", i);
            ret = EIO;
        }

        ret = gpio_pin_configure_dt(&sw_id[i], GPIO_INPUT);
        if (ret != 0)
        {
            LOG_ERR("Failed to configure IO pin for id switch %d, ret %d", i, ret);
            ret = EIO;
        }
    }
    return ret;
}

int init_buzzer()
{
    int ret = 0;
    if (!device_is_ready(buzzer.dev))
    {
        LOG_ERR("Failed to initialise PWM device for buzzer");
        return EIO;
    }

    // make sure the buzzer is definitely off for good measure...
    ret = pwm_set_dt(&buzzer, 0, 0);
    if (ret != 0)
    {
        LOG_ERR("Failed to set initial buzzer PWM config");
        return -EIO;
    }

    return ret;
}

int io_init()
{
    int ret = 0;
    LOG_INF("Starting init\n");
    init_leds();
    init_btns();
    init_dev_id_sw();
    LOG_INF("Finishing init\n");
    return 0;
}

int io_set_leds_cfg(leds_cfg_t cfg)
{
    int ret = 0;
    ret = k_msgq_put(&leds_cfg_queue, &cfg, K_NO_WAIT);
    return ret;
}

int io_set_led(uint8_t led)
{
    int ret = 0;
    if (led <= NUM_LEDS-1)
    {
        ret = gpio_pin_set_dt(&(*leds[led]), 1);
        return ret;
    }
    else
        return EIO;
}

int io_clr_led(uint8_t led)
{
    int ret = 0;
    if (led < NUM_LEDS)
    {
        ret = gpio_pin_set_dt(&(*leds[led]), 0);
        return ret;
    }
    else
        return EIO;
}

int io_led_bits_set(uint8_t led_bits)
{
    for (uint8_t i = 0; i < NUM_LEDS; i++)
    {
        gpio_pin_set_dt(&(*leds[i]), (led_bits & (1 << i)));
    }
    return 0;
}

int io_led_bits_toggle(uint8_t led_bits)
{
    for (uint8_t i = 0; i < NUM_LEDS; i++)
    {
        // toggle led if bit set
        if (led_bits & (1 << i))
            gpio_pin_toggle_dt(&(*leds[i]));
    }
    return 0;
}

int io_led_bits_toggle_all()
{
    for (uint8_t i = 0; i < NUM_LEDS; i++)
    {
        gpio_pin_toggle_dt(&(*leds[i]));
    }
    return 0;
}

int io_get_red_btn_state()
{
    int val = gpio_pin_get_dt(&btns[BTN_RED_ID]);
    return val;
}

int io_get_dev_id()
{
    int ret = 0;
    int id0 = gpio_pin_get_dt(&sw_id[0]);
    int id1 = gpio_pin_get_dt(&sw_id[1]);
    int id2 = gpio_pin_get_dt(&sw_id[2]);

    ret = (id0) + (id1 << 1) + (id2 << 2);
    return ret;
}

void io_reg_cb_btn_usr(void (*cb)(uint8_t))
{
    btn_evt_handlers[BTN_USR_ID] = cb;
}

void io_reg_cb_btn_red(void (*cb)(uint8_t))
{
    btn_evt_handlers[BTN_RED_ID] = cb;
}

void io_reg_cb_btn_blk(void (*cb)(uint8_t))
{
    btn_evt_handlers[BTN_BLK_ID] = cb;
}

int io_buzzer_on()
{
    int ret = 0;
    LOG_DBG("turning buzzer on");
    ret = pwm_set_dt(&buzzer, BZR_PERIOD_NS, BZR_PULSE_WIDTH_NS);
    if (ret != 0)
    {
        LOG_ERR("Failed to turn buzzer on, ret: %d", ret);
    }
    return ret;
}

int io_buzzer_off()
{
    int ret = 0;
    LOG_DBG("turning buzzer off");
    ret = pwm_set_dt(&buzzer, BZR_PERIOD_NS, 0);
    if (ret != 0)
    {
        LOG_ERR("Failed to turn buzzer off, ret: %d", ret);
    }
    return ret;
}
```

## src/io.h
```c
#ifndef IO_H_ 
#define IO_H_

#include <stdint.h>


#define BTN_EVT_PRESSED             0
#define BTN_EVT_RELEASED            1
#define BTN_EVT_HOLD_2s             2
#define BTN_EVT_HOLD_5s             3

#define LED_CFG_TYPE_DISABLE        0
#define LED_CFG_TYPE_ON_OFF         1   // turn leds on/off according to pattern bits
#define LED_CFG_TYPE_BLINK_STATIC   2   // blink led bits set to 1 in pattern
#define LED_CFG_TYPE_BLINK_ALT      3   // blink led bits set to 1/0 in pattern alternatively

#define BZR_CFG_TYPE_DISABLE        0
#define BZR_CFG_TYPE_ON_OFF         1   // buzzer on/off (ignore time field)
#define BZR_CFG_TYPE_TIMEOUT        2   // buzzer on for time specified
#define BZR_CFG_TYPE_PERIODIC       3   // buzzer on/off at specified time intervals

typedef struct btn_evt {
    uint8_t btn_id;
    uint8_t evt_type;
} btn_evt_t;

typedef struct leds_cfg {
    uint8_t cfg_type;
    uint8_t pattern;
} leds_cfg_t;

typedef struct buzzer_cfg {
    uint8_t cfg_type;
    uint8_t time_ms;
} buzzer_cfg_t;

int io_init();

int io_set_leds_cfg(leds_cfg_t cfg);
int io_set_cfg_buzzer(buzzer_cfg_t cfg);

int io_set_led(uint8_t led);
int io_clr_led(uint8_t led);

int io_buzzer_on();
int io_buzzer_off();

void io_reg_cb_btn_usr(void (*cb)(uint8_t));
void io_reg_cb_btn_red(void (*cb)(uint8_t));
void io_reg_cb_btn_blk(void (*cb)(uint8_t));

int io_get_red_btn_state();

int io_get_dev_id();

void btn_evt_thread(void *unused, void *unused1, void *unused2);

#endif
```

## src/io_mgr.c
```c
#include <zephyr/logging/log.h>

LOG_MODULE_REGISTER(io_mgr, LOG_LEVEL_DBG);

#include <zephyr/kernel.h>

#include "io_mgr.h"
#include "io.h"
#include "msys.h"

#define BUZZER_ON_PERIOD_MS            1000

static struct k_work_delayable leds_disable_work;

static struct k_work_delayable buzzer_off_work;

static const leds_cfg_t leds_cfg_connecting = {
    .cfg_type = LED_CFG_TYPE_BLINK_ALT,
    .pattern = 0x0A
};

static const leds_cfg_t leds_cfg_bat_level = {
    .cfg_type = LED_CFG_TYPE_ON_OFF,
    .pattern = 0x00
};

static const leds_cfg_t leds_cfg_disable = {
    .cfg_type = LED_CFG_TYPE_DISABLE,
    .pattern = 0x00
};

static const leds_cfg_t leds_cfg_config = {
    .cfg_type = LED_CFG_TYPE_BLINK_STATIC,
    .pattern = 0x01
};

void btn_usr_handler(uint8_t evt_type);
void btn_red_handler(uint8_t evt_type);
void btn_blk_handler(uint8_t evt_type);

static void leds_disable_work_fn(struct k_work *work)
{
    io_mgr_set_leds_disable();
}

static void buzzer_off_work_fn(struct k_work *work)
{
    io_buzzer_off();
}

int io_mgr_init()
{
    LOG_DBG("init...");
    io_reg_cb_btn_usr(&btn_usr_handler);
    io_reg_cb_btn_red(&btn_red_handler);
    io_reg_cb_btn_blk(&btn_blk_handler);

    k_work_init_delayable(&leds_disable_work, leds_disable_work_fn);
    k_work_init_delayable(&buzzer_off_work, buzzer_off_work_fn);
}

int io_mgr_set_leds_config()
{
    return io_set_leds_cfg(leds_cfg_config);
}

int io_mgr_set_leds_connecting()
{
    return io_set_leds_cfg(leds_cfg_connecting);
}

int io_mgr_set_leds_bat_level()
{
    // read from adc
    // convert adc to 4-step level
    // display level using LEDs on/off pattern
    leds_cfg_t cfg = leds_cfg_bat_level;
    cfg.pattern = 0x0F;
    io_set_leds_cfg(cfg);

    // set timeout cb to trigger LEDs to turn off after a short time
    k_work_reschedule(&leds_disable_work, K_MSEC(2000));
}

int io_mgr_set_leds_disable()
{
    return io_set_leds_cfg(leds_cfg_disable);
}

int io_mgr_buzzer_trig()
{
    io_buzzer_on();

    k_work_reschedule(&buzzer_off_work, K_MSEC(BUZZER_ON_PERIOD_MS));
}

void btn_usr_handler(uint8_t evt_type)
{
    if (evt_type == BTN_EVT_PRESSED)
    {
        //io_mgr_set_leds_bat_level();
        msys_signal_evt(SYS_EVT_CONFIG_END);
        
    }
    else if (evt_type == BTN_EVT_HOLD_2s)
    {
        msys_signal_evt(SYS_EVT_CONFIG);
    }
}

void btn_red_handler(uint8_t evt_type)
{
    if (evt_type == BTN_EVT_PRESSED)
    {
        msys_signal_evt(SYS_EVT_INP_RED_DECISION);
    }
    else if (evt_type == BTN_EVT_HOLD_2s)
    {
        msys_signal_evt(SYS_EVT_CONN_LOST);
    }
}

void btn_blk_handler(uint8_t evt_type)
{
    if (evt_type == BTN_EVT_PRESSED)
    {
        msys_signal_evt(SYS_EVT_INP_BLK_DECISION);
    }
    else if (evt_type == BTN_EVT_HOLD_2s)
    {
        msys_signal_evt(SYS_EVT_CONN_SUCCESS);
    }
}
```

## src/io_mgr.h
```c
#ifndef IO_MGR_
#define IO_MGR_

int io_mgr_init();

int io_mgr_set_leds_connecting();
int io_mgr_set_leds_bat_level();
int io_mgr_set_leds_disable();

int io_mgr_set_leds_config();

int io_mgr_buzzer_trig();


#endif
```
